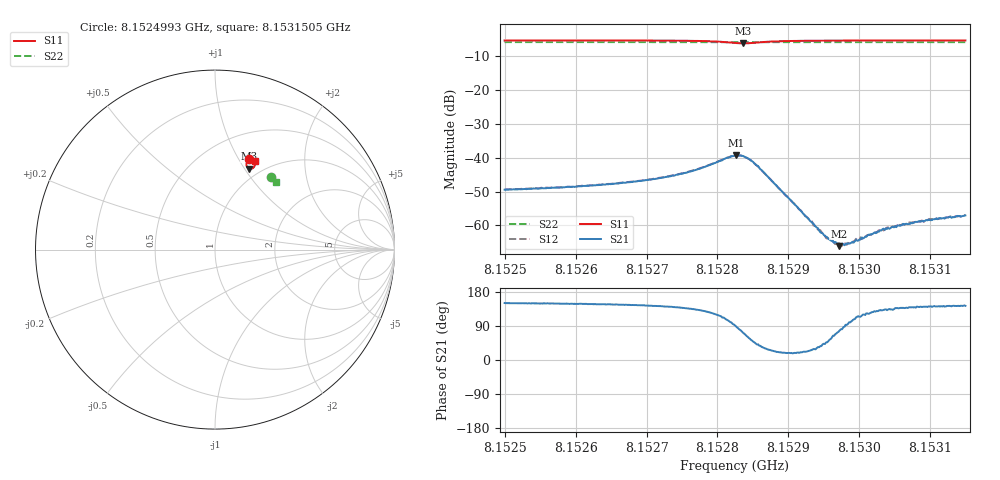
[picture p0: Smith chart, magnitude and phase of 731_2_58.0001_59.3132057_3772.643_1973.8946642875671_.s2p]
#  HZ  S  RI  R  50.00
! Rohde & Schwarz Vector Network Analyzer
! Rohde-Schwarz,ZNB20-2Port,1311601062101988,3.16
! Created: UTC 3/21/2024, 1:23:05 AM
! freq[Hz]  re:S11  im:S11  re:S21  im:S21  re:S12  im:S12  re:S22  im:S22
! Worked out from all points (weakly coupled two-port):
!   401 points, 8.1524993 GHz to 8.1531505 GHz, reference 50 ohm
!   highest |S21| = -39.25 dB at 8.1528265 GHz (marker M1); lowest = -66.1 dB at 8.1529714 GHz (marker M2)
!   lowest |S11| = -6.2 dB at 8.1528363 GHz (marker M3), VSWR 2.92, Z = 44.2 + j52.5 ohm
!   |S11| at or under -10 dB: nowhere
!   |S22| runs from -5.9 to -5.8 dB; largest |S21 - S12| = 0.00041
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8.1524993e9  0.1895 0.506  -0.00294 0.00167  -0.00293 0.00173  0.3106 0.4058
8.15260837e9  0.1989 0.5023  -0.00322 0.00201  -0.00325 0.00209  0.3162 0.4015
8.15266047e9  0.2038 0.4998  -0.00348 0.00235  -0.00344 0.0024  0.3187 0.3993
8.15271745e9  0.2105 0.4956  -0.00396 0.00304  -0.00394 0.00318  0.3215 0.3968
8.15276466e9  0.2177 0.4877  -0.00446 0.00456  -0.00447 0.0047  0.3238 0.3944
8.15282489e9  0.2067 0.4519  -0.000178 0.0107  0.000165 0.0107  0.3257 0.391
8.15282652e9  0.2046 0.4511  0.000325 0.0109  0.000417 0.0108  0.3256 0.3909
8.15283629e9  0.1899 0.4515  0.00332 0.0101  0.0035 0.00986  0.3256 0.3909
8.15284768e9  0.1772 0.4627  0.00553 0.00726  0.00569 0.00712  0.3259 0.3911
8.15285745e9  0.1744 0.4744  0.00566 0.005  0.00583 0.00462  0.3262 0.3911
8.15293397e9  0.198 0.498  0.000979 0.0005  0.00102 0.000502  0.331 0.3886
8.15293885e9  0.1989 0.4981  0.000847 0.000455  0.000851 0.000467  0.3314 0.3883
8.15294699e9  0.2004 0.498  0.000622 0.000464  0.000631 0.000493  0.3319 0.3879
8.15295513e9  0.2018 0.4982  0.000461 0.00049  0.000447 0.00046  0.3323 0.3877
8.15296653e9  0.2037 0.498  0.000214 0.000528  0.000207 0.000489  0.3327 0.3869
8.15297141e9  0.2044 0.498  0.00013 0.00048  0.000157 0.000525  0.3331 0.3869
8.15297955e9  0.2056 0.4978  2.21e-05 0.00051  8.17e-06 0.00054  0.3336 0.3865
8.15298932e9  0.2069 0.4975  -0.000116 0.000543  -9.64e-05 0.000572  0.334 0.3861
8.15303165e9  0.2118 0.4965  -0.000552 0.000637  -0.000545 0.000673  0.336 0.3844
8.15304304e9  0.2129 0.4962  -0.000627 0.000637  -0.000622 0.000656  0.3367 0.3837
8.15308211e9  0.2166 0.4951  -0.000871 0.000706  -0.000864 0.000714  0.3385 0.382
8.15315049e9  0.2225 0.493  -0.00112 0.000847  -0.00113 0.000885  0.3417 0.3791
